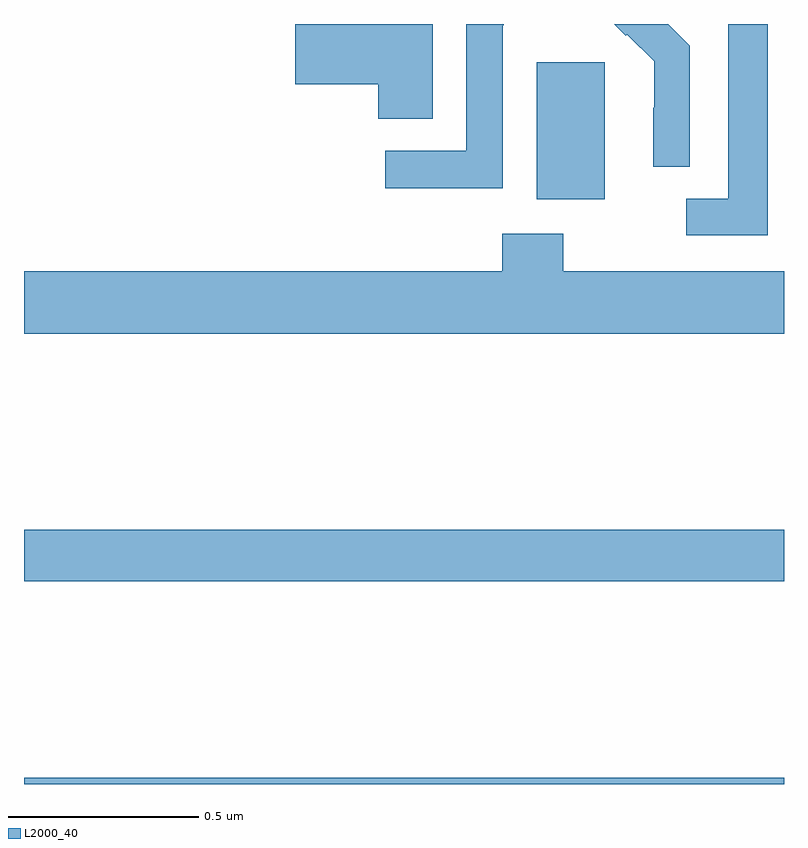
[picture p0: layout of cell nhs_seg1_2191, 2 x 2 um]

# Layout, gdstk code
import gdstk
lib = gdstk.Library(unit=1e-6, precision=1e-09)
def R(c, l, rs):  # rectangles x0, y0, x1, y1
    for r in rs: c.add(gdstk.rectangle(r[:2], r[2:], *l))
def P(c, l, *ps):  # polygons
    for p in ps: c.add(gdstk.Polygon(p, *l))
L2000_40 = (2000, 40)

nhs_seg1_2191 = lib.new_cell('nhs_seg1_2191')
R(nhs_seg1_2191, L2000_40, [(138,565.199,140,565.216), (138,565.732,140,565.868), (139.349,566.738,139.528,567.099)])
P(nhs_seg1_2191, L2000_40, [(139.26,567.196),(139.263,567.196),(139.263,567.199),(139.164,567.199),(139.164,566.865),(138.951,566.865),(138.951,566.767),(139.26,566.767)],
  [(139.752,567.142),(139.695,567.199),(139.553,567.199),(139.584,567.168),(139.587,567.171),(139.658,567.101),(139.658,566.978),(139.656,566.978),(139.656,566.824),(139.752,566.824)],
  [(139.075,567.199),(138.714,567.199),(138.714,567.041),(138.932,567.041),(138.932,566.95),(139.075,566.95)],
  [(139.957,567.199),(139.853,567.199),(139.853,566.739),(139.743,566.739),(139.743,566.643),(139.957,566.643)],
  [(140,566.548),(139.419,566.548),(139.419,566.647),(139.259,566.647),(139.259,566.548),(138,566.548),(138,566.384),(140,566.384)])

lib.write_gds('nhs_seg1_2191.gds')
